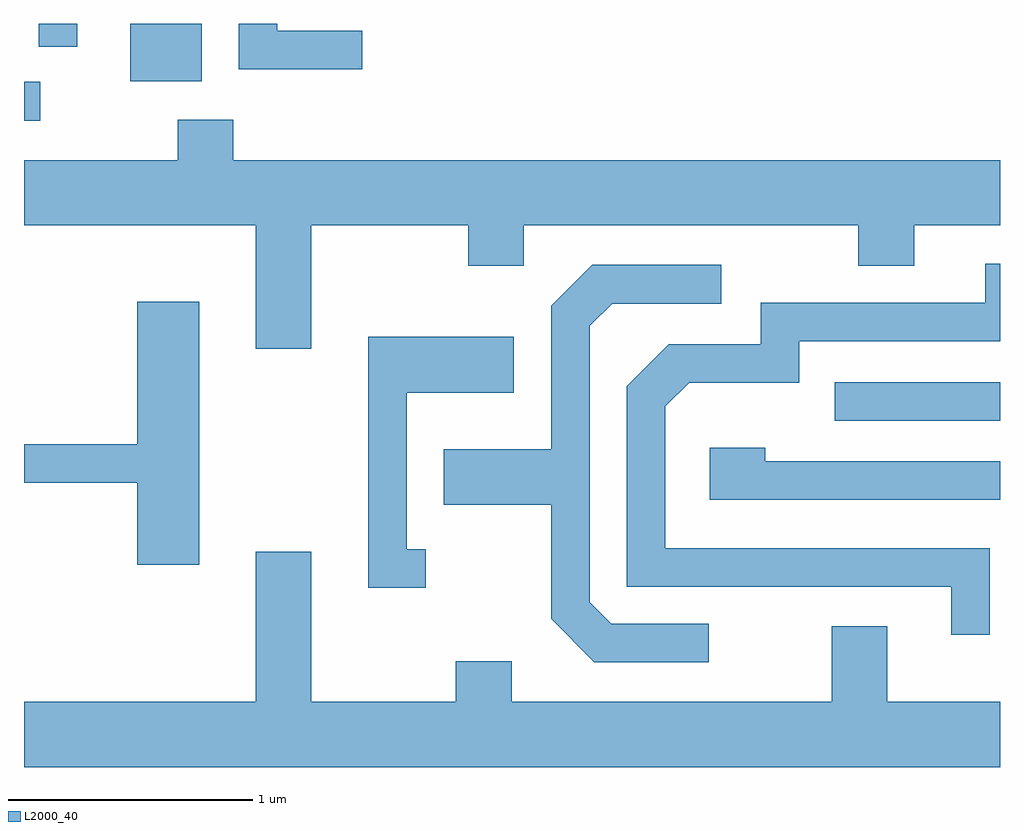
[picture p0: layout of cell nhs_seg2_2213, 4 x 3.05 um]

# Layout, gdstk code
import gdstk
lib = gdstk.Library(unit=1e-6, precision=1e-09)
def R(c, l, rs):  # rectangles x0, y0, x1, y1
    for r in rs: c.add(gdstk.rectangle(r[:2], r[2:], *l))
def P(c, l, *ps):  # polygons
    for p in ps: c.add(gdstk.Polygon(p, *l))
L2000_40 = (2000, 40)

nhs_seg2_2213 = lib.new_cell('nhs_seg2_2213')
R(nhs_seg2_2213, L2000_40, [(252.933,1054.176,253.611,1054.334), (249.611,1055.406,249.678,1055.564), (250.046,1055.566,250.339,1055.802), (249.671,1055.708,249.829,1055.802)])
P(nhs_seg2_2213, L2000_40, [(250.998,1055.774),(250.649,1055.774),(250.649,1055.802),(250.491,1055.802),(250.491,1055.616),(250.998,1055.616)],
  [(250.789,1054.976),(251.431,1054.976),(251.431,1054.811),(251.659,1054.811),(251.659,1054.976),(253.031,1054.976),(253.031,1054.811),(253.259,1054.811),(253.259,1054.976),(253.611,1054.976),(253.611,1055.244),(250.469,1055.244),(250.469,1055.409),(250.241,1055.409),(250.241,1055.244),(249.611,1055.244),(249.611,1054.976),(250.561,1054.976),(250.561,1054.471),(250.789,1054.471)],
  [(253.569,1053.654),(252.239,1053.654),(252.239,1054.234),(252.337,1054.331),(252.789,1054.331),(252.789,1054.501),(253.611,1054.501),(253.611,1054.819),(253.551,1054.819),(253.551,1054.659),(252.631,1054.659),(252.631,1054.489),(252.254,1054.489),(252.081,1054.317),(252.081,1053.496),(253.411,1053.496),(253.411,1053.298),(253.569,1053.298)],
  [(252.418,1053.344),(252.017,1053.344),(251.929,1053.432),(251.929,1054.564),(252.022,1054.656),(252.468,1054.656),(252.468,1054.814),(251.939,1054.814),(251.771,1054.647),(251.771,1054.059),(251.331,1054.059),(251.331,1053.831),(251.771,1053.831),(251.771,1053.364),(251.949,1053.186),(252.418,1053.186)],
  [(250.329,1054.664),(250.076,1054.664),(250.076,1054.079),(249.611,1054.079),(249.611,1053.921),(250.076,1053.921),(250.076,1053.586),(250.329,1053.586)],
  [(251.258,1053.649),(251.179,1053.649),(251.179,1054.291),(251.619,1054.291),(251.619,1054.519),(251.021,1054.519),(251.021,1053.491),(251.258,1053.491)],
  [(253.611,1054.009),(252.649,1054.009),(252.649,1054.064),(252.421,1054.064),(252.421,1053.851),(253.611,1053.851)],
  [(253.611,1053.024),(253.149,1053.024),(253.149,1053.334),(252.921,1053.334),(252.921,1053.024),(251.609,1053.024),(251.609,1053.189),(251.381,1053.189),(251.381,1053.024),(250.789,1053.024),(250.789,1053.639),(250.561,1053.639),(250.561,1053.024),(249.611,1053.024),(249.611,1052.756),(253.611,1052.756)])

lib.write_gds('nhs_seg2_2213.gds')
